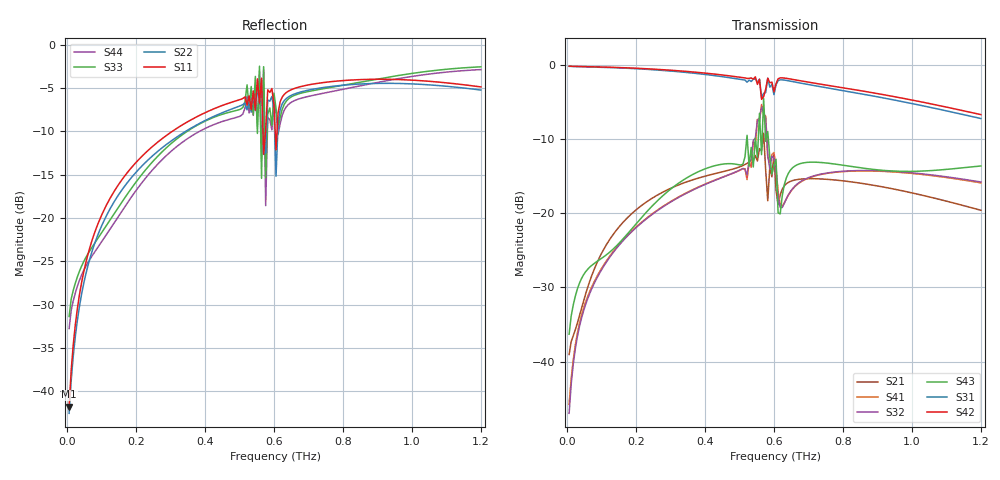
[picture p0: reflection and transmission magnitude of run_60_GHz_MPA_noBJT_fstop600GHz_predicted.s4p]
#  Hz  S  RI  R  50
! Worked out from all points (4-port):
!   200 points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, 6 GHz to 1.2 THz, reference 50 ohm
!   strongest paths, dB at 6 GHz, 306 GHz, 606 GHz, 906 GHz, 1.2 THz:
!     S42: -0.1, -0.7, -2.5, -3.9, -6.7
!     S31: -0.2, -0.8, -2.7, -4.3, -7.2
!     S43: -36.3, -16.5, -12.7, -14.2, -13.6
!     S32: -47.0, -18.3, -14.3, -14.3, -15.8
!     S41: -45.8, -18.3, -13.8, -14.3, -15.9
!     S21: -39.0, -16.5, -16.9, -16.3, -19.6
!   lowest |S11| = -41.8 dB at 6 GHz (marker M1), VSWR 1.02, Z = 50.1 - j0.811 ohm
!   |S11| at or under -10 dB: start of sweep to 304.5 GHz; 568.2 GHz to 575.6 GHz (7.377 GHz wide, 1.29 % of centre); 603.5 GHz to 609 GHz (5.435 GHz wide, 0.897 % of centre)
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6e9  0.000566 -0.0081  0.00888 0.00688  0.9841 -0.0198  0.00454 0.00355
     0.00888 0.00676  0.000925 -0.00738  0.00391 0.0039  0.9859 -0.0189
     0.9824 -0.0209  0.00283 0.00346  0.0261 0.007  -0.014 -0.00663
     0.00389 0.00337  0.9847 -0.0194  -0.0137 -0.00676  0.0221 0.00612
1.32e11  -0.0844 -0.1088  0.0501 0.0507  0.8943 -0.3509  0.0344 0.042
         0.0499 0.0507  -0.0714 -0.0963  0.0328 0.0425  0.9046 -0.3411
         0.895 -0.3538  0.0325 0.0428  -0.0041 -0.1024  0.0196 0.0536
         0.0341 0.0426  0.9048 -0.3425  0.0203 0.0532  -0.00382 -0.0908
5.58e11  -0.2111 0.4096  -0.1537 -0.2218  0.00377 -0.7713  0.3118 -0.1019
         -0.1444 -0.2324  -0.1918 0.4142  0.3279 -0.1227  -0.00888 -0.7663
         0.0131 -0.8055  0.4139 -0.1498  -0.673 -0.3399  0.4381 0.1678
         0.4009 -0.1116  -0.00798 -0.8026  0.4357 0.185  -0.5786 -0.3958
5.64e11  -0.0407 0.6417  -0.1634 -0.2042  -0.0476 -0.5486  0.2309 -0.4054
         -0.1722 -0.2004  -0.0109 0.5772  0.187 -0.4005  0.0116 -0.5652
         -0.089 -0.5986  0.1353 -0.5041  -0.1674 -0.026  0.2076 -0.1124
         0.1878 -0.5087  -0.0272 -0.5879  0.2189 -0.1186  -0.2116 -0.0561
5.7e11  -0.0168 0.2331  -0.3375 0.0778  0.0494 -0.5991  0.2129 -0.336
        -0.3414 0.0649  0.039 0.2296  0.2105 -0.3515  0.0625 -0.5689
        0.0508 -0.6448  0.2424 -0.4132  -0.7432 -0.0899  0.5857 -0.038
        0.2544 -0.389  0.0552 -0.6097  0.5955 -0.0238  -0.7031 -0.1613
5.88e11  -0.1622 0.5063  0.1016 -0.1768  0.136 -0.6736  -0.0415 -0.2001
         0.1062 -0.1767  -0.1779 0.4387  -0.0415 -0.1645  0.1653 -0.7395
         0.0858 -0.7058  -0.1208 -0.1589  0.2523 -0.3513  -0.2247 0.0393
         -0.111 -0.1903  0.1497 -0.7464  -0.237 0.0268  0.2237 -0.2952
1.2e12  0.5458 0.1713  -0.1013 0.0106  -0.3941 -0.1731  -0.1273 -0.0865
        -0.1017 0.0258  0.5187 0.1789  -0.1276 -0.0945  -0.4154 -0.1801
        -0.419 -0.1223  -0.1425 -0.0787  -0.7394 -0.1103  0.2033 0.00272
        -0.1401 -0.0787  -0.4389 -0.1502  0.2087 0.00892  -0.71 -0.1223
